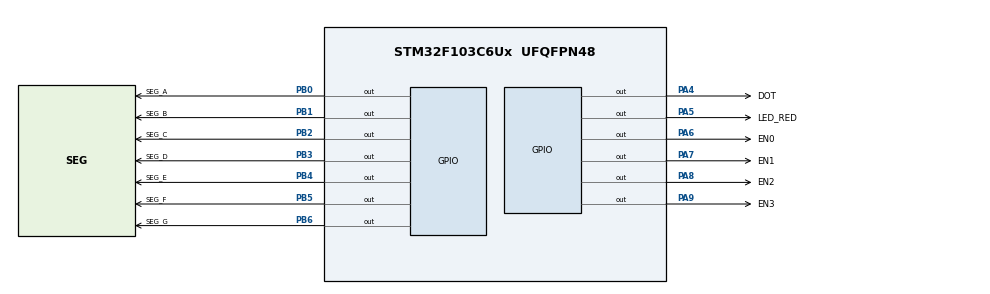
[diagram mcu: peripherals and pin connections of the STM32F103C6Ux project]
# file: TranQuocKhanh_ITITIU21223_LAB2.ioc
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Mcu.Family=STM32F1
Mcu.Name=STM32F103C6Ux
Mcu.Package=UFQFPN48
NVIC.PriorityGroup=NVIC_PRIORITYGROUP_4
NVIC.TIM2_IRQn=true\:0\:0\:false\:false\:true\:true\:true\:true
PA4.GPIO_Label=DOT
PA4.Signal=GPIO_Output
PA5.GPIO_Label=LED_RED
PA5.Signal=GPIO_Output
PA6.GPIO_Label=EN0
PA6.Signal=GPIO_Output
PA7.GPIO_Label=EN1
PA7.Signal=GPIO_Output
PA8.GPIO_Label=EN2
PA8.Signal=GPIO_Output
PA9.GPIO_Label=EN3
PA9.Signal=GPIO_Output
PB0.GPIO_Label=SEG_A
PB0.Signal=GPIO_Output
PB1.GPIO_Label=SEG_B
PB1.Signal=GPIO_Output
PB2.GPIO_Label=SEG_C
PB2.Signal=GPIO_Output
PB3.GPIO_Label=SEG_D
PB3.Signal=GPIO_Output
PB4.GPIO_Label=SEG_E
PB4.Signal=GPIO_Output
PB5.GPIO_Label=SEG_F
PB5.Signal=GPIO_Output
PB6.GPIO_Label=SEG_G
PB6.Signal=GPIO_Output
ProjectManager.HeapSize=0x200
ProjectManager.StackSize=0x400
ProjectManager.TargetToolchain=STM32CubeIDE
RCC.APB1Freq_Value=8000000
RCC.APB2Freq_Value=8000000
TIM2.Period=9
TIM2.Prescaler=7999
VP_SYS_VS_ND.Mode=No_Debug
VP_TIM2_VS_ClockSourceINT.Mode=Internal
board=custom

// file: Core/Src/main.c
/* USER CODE BEGIN Header */
/**
  ******************************************************************************
  * @file           : main.c
  * @brief          : Main program body
  ******************************************************************************
  * @attention
  *
  * Copyright (c) 2024 STMicroelectronics.
  * All rights reserved.
  *
  * This software is licensed under terms that can be found in the LICENSE file
  * in the root directory of this software component.
  * If no LICENSE file comes with this software, it is provided AS-IS.
  *
  ******************************************************************************
  */
/* USER CODE END Header */
#include "main.h"

/* USER CODE BEGIN Includes */
#include "software_timer.h"
/* USER CODE END Includes */

const int MAX_LED = 4;
int index_led = 0;
int led_buffer[4] = {1, 2, 3, 0};
TIM_HandleTypeDef htim2;

void SystemClock_Config(void);
static void MX_GPIO_Init(void);
static void MX_TIM2_Init(void);
/* USER CODE BEGIN PFP */
const int digitConfig[][7] = {
        // A, B, C, D, E, F, G, DP
        {1, 1, 1, 1, 1, 1, 0}, // 0
        {0, 1, 1, 0, 0, 0, 0}, // 1
        {1, 1, 0, 1, 1, 0, 1}, // 2
        {1, 1, 1, 1, 0, 0, 1}, // 3
        {0, 1, 1, 0, 0, 1, 1}, // 4
        {1, 0, 1, 1, 0, 1, 1}, // 5
        {1, 0, 1, 1, 1, 1, 1}, // 6
        {1, 1, 1, 0, 0, 0, 0}, // 7
        {1, 1, 1, 1, 1, 1, 1}, // 8
        {1, 1, 1, 1, 0, 1, 1}  // 9
    };
const int DOT_COUNTER = 100, LED_SWITCH_COUNTER = 25, CLOCK_COUNTER = 100;
int hour = 15 , minute = 12 , second = 37;
/* USER CODE END PFP */

int main(void)
{

  /* MCU Configuration--------------------------------------------------------*/

  /* Reset of all peripherals, Initializes the Flash interface and the Systick. */
  HAL_Init();

  /* Configure the system clock */
  SystemClock_Config();

  /* Initialize all configured peripherals */
  MX_GPIO_Init();
  MX_TIM2_Init();
  /* USER CODE BEGIN 2 */
  HAL_TIM_Base_Start_IT (& htim2 ) ;
  /* USER CODE END 2 */

  /* Infinite loop */
  /* USER CODE BEGIN WHILE */
  HAL_GPIO_WritePin(GPIOA, DOT_Pin, GPIO_PIN_SET);
  setTimer0(DOT_COUNTER);
  setTimer1(LED_SWITCH_COUNTER);
  setTimer2(CLOCK_COUNTER);
  updateClockBuffer();
  while (1)
  {
	  if(timer0_flag == 1) {
		  HAL_GPIO_TogglePin(GPIOA, DOT_Pin);
		  setTimer0(DOT_COUNTER);
	  }
	  if(timer1_flag == 1) {
		  setTimer1(LED_SWITCH_COUNTER);
		  update7SEG(index_led++) ;
		  if(index_led > 3) {
			  index_led = 0;
		  }

	  }
	  if(timer2_flag == 1) {
	      second++;
	      if (second >= 60)
	      {
	        second = 0;
	        minute++;
	      }
	      if (minute >= 60)
	      {
	        minute = 0;
	        hour++;
	      }
	      if (hour >= 24)
	      {
	        hour = 0;
	      }
	      updateClockBuffer();
	      setTimer2(CLOCK_COUNTER);
	  }
  }
}

void SystemClock_Config(void)
{
  RCC_OscInitTypeDef RCC_OscInitStruct = {0};
  RCC_ClkInitTypeDef RCC_ClkInitStruct = {0};

  /** Initializes the RCC Oscillators according to the specified parameters
  * in the RCC_OscInitTypeDef structure.
  */
  RCC_OscInitStruct.OscillatorType = RCC_OSCILLATORTYPE_HSI;
  RCC_OscInitStruct.HSIState = RCC_HSI_ON;
  RCC_OscInitStruct.HSICalibrationValue = RCC_HSICALIBRATION_DEFAULT;
  RCC_OscInitStruct.PLL.PLLState = RCC_PLL_NONE;
  if (HAL_RCC_OscConfig(&RCC_OscInitStruct) != HAL_OK)
  {
    Error_Handler();
  }

  /** Initializes the CPU, AHB and APB buses clocks
  */
  RCC_ClkInitStruct.ClockType = RCC_CLOCKTYPE_HCLK|RCC_CLOCKTYPE_SYSCLK
                              |RCC_CLOCKTYPE_PCLK1|RCC_CLOCKTYPE_PCLK2;
  RCC_ClkInitStruct.SYSCLKSource = RCC_SYSCLKSOURCE_HSI;
  RCC_ClkInitStruct.AHBCLKDivider = RCC_SYSCLK_DIV1;
  RCC_ClkInitStruct.APB1CLKDivider = RCC_HCLK_DIV1;
  RCC_ClkInitStruct.APB2CLKDivider = RCC_HCLK_DIV1;

  if (HAL_RCC_ClockConfig(&RCC_ClkInitStruct, FLASH_LATENCY_0) != HAL_OK)
  {
    Error_Handler();
  }
}

static void MX_TIM2_Init(void)
{

  TIM_ClockConfigTypeDef sClockSourceConfig = {0};
  TIM_MasterConfigTypeDef sMasterConfig = {0};

  htim2.Instance = TIM2;
  htim2.Init.Prescaler = 7999;
  htim2.Init.CounterMode = TIM_COUNTERMODE_UP;
  htim2.Init.Period = 9;
  htim2.Init.ClockDivision = TIM_CLOCKDIVISION_DIV1;
  htim2.Init.AutoReloadPreload = TIM_AUTORELOAD_PRELOAD_DISABLE;
  if (HAL_TIM_Base_Init(&htim2) != HAL_OK)
  {
    Error_Handler();
  }
  sClockSourceConfig.ClockSource = TIM_CLOCKSOURCE_INTERNAL;
  if (HAL_TIM_ConfigClockSource(&htim2, &sClockSourceConfig) != HAL_OK)
  {
    Error_Handler();
  }
  sMasterConfig.MasterOutputTrigger = TIM_TRGO_RESET;
  sMasterConfig.MasterSlaveMode = TIM_MASTERSLAVEMODE_DISABLE;
  if (HAL_TIMEx_MasterConfigSynchronization(&htim2, &sMasterConfig) != HAL_OK)
  {
    Error_Handler();
  }

}

static void MX_GPIO_Init(void)
{
  GPIO_InitTypeDef GPIO_InitStruct = {0};

  /* GPIO Ports Clock Enable */
  __HAL_RCC_GPIOA_CLK_ENABLE();
  __HAL_RCC_GPIOB_CLK_ENABLE();

  /*Configure GPIO pin Output Level */
  HAL_GPIO_WritePin(GPIOA, DOT_Pin|LED_RED_Pin|EN0_Pin|EN1_Pin
                          |EN2_Pin|EN3_Pin, GPIO_PIN_RESET);

  /*Configure GPIO pin Output Level */
  HAL_GPIO_WritePin(GPIOB, SEG_A_Pin|SEG_B_Pin|SEG_C_Pin|SEG_D_Pin
                          |SEG_E_Pin|SEG_F_Pin|SEG_G_Pin, GPIO_PIN_RESET);

  /*Configure GPIO pins : DOT_Pin LED_RED_Pin EN0_Pin EN1_Pin
                           EN2_Pin EN3_Pin */
  GPIO_InitStruct.Pin = DOT_Pin|LED_RED_Pin|EN0_Pin|EN1_Pin
                          |EN2_Pin|EN3_Pin;
  GPIO_InitStruct.Mode = GPIO_MODE_OUTPUT_PP;
  GPIO_InitStruct.Pull = GPIO_NOPULL;
  GPIO_InitStruct.Speed = GPIO_SPEED_FREQ_LOW;
  HAL_GPIO_Init(GPIOA, &GPIO_InitStruct);

  /*Configure GPIO pins : SEG_A_Pin SEG_B_Pin SEG_C_Pin SEG_D_Pin
                           SEG_E_Pin SEG_F_Pin SEG_G_Pin */
  GPIO_InitStruct.Pin = SEG_A_Pin|SEG_B_Pin|SEG_C_Pin|SEG_D_Pin
                          |SEG_E_Pin|SEG_F_Pin|SEG_G_Pin;
  GPIO_InitStruct.Mode = GPIO_MODE_OUTPUT_PP;
  GPIO_InitStruct.Pull = GPIO_NOPULL;
  GPIO_InitStruct.Speed = GPIO_SPEED_FREQ_LOW;
  HAL_GPIO_Init(GPIOB, &GPIO_InitStruct);

}

/* USER CODE BEGIN 4 */
void updateClockBuffer()
{
  led_buffer[0] = hour / 10;
  led_buffer[1] = hour % 10;
  led_buffer[2] = minute / 10;
  led_buffer[3] = minute % 10;
}
void display7SEG(int num) {
	 if (num < 0 || num > 9) {
	        return;
	    }
	 const int *config = digitConfig[num];

	 HAL_GPIO_WritePin(SEG_A_GPIO_Port, SEG_A_Pin, config[0] ? GPIO_PIN_RESET : GPIO_PIN_SET);
	 HAL_GPIO_WritePin(SEG_B_GPIO_Port, SEG_B_Pin, config[1] ? GPIO_PIN_RESET : GPIO_PIN_SET);
	 HAL_GPIO_WritePin(SEG_C_GPIO_Port, SEG_C_Pin, config[2] ? GPIO_PIN_RESET : GPIO_PIN_SET);
	 HAL_GPIO_WritePin(SEG_D_GPIO_Port, SEG_D_Pin, config[3] ? GPIO_PIN_RESET : GPIO_PIN_SET);
	 HAL_GPIO_WritePin(SEG_E_GPIO_Port, SEG_E_Pin, config[4] ? GPIO_PIN_RESET : GPIO_PIN_SET);
	 HAL_GPIO_WritePin(SEG_F_GPIO_Port, SEG_F_Pin, config[5] ? GPIO_PIN_RESET : GPIO_PIN_SET);
	 HAL_GPIO_WritePin(SEG_G_GPIO_Port, SEG_G_Pin, config[6] ? GPIO_PIN_RESET : GPIO_PIN_SET);
}
void update7SEG(int index) {
    switch (index) {
        case 0:
			HAL_GPIO_WritePin(GPIOA, EN0_Pin , GPIO_PIN_RESET) ;
			HAL_GPIO_WritePin(GPIOA, EN1_Pin | EN2_Pin | EN3_Pin, GPIO_PIN_SET) ;
            display7SEG(led_buffer[0]);
            break;
        case 1:
        	HAL_GPIO_WritePin(GPIOA, EN1_Pin, GPIO_PIN_RESET) ;
        	HAL_GPIO_WritePin(GPIOA, EN0_Pin | EN2_Pin | EN3_Pin , GPIO_PIN_SET) ;
            display7SEG(led_buffer[1]);
            break;
        case 2:
         	HAL_GPIO_WritePin(GPIOA, EN2_Pin , GPIO_PIN_RESET) ;
       	    HAL_GPIO_WritePin(GPIOA, EN0_Pin | EN1_Pin | EN3_Pin, GPIO_PIN_SET) ;
            display7SEG(led_buffer[2]);
            break;
        case 3:
        	HAL_GPIO_WritePin(GPIOA, EN3_Pin, GPIO_PIN_RESET) ;
        	HAL_GPIO_WritePin(GPIOA, EN0_Pin | EN1_Pin | EN2_Pin , GPIO_PIN_SET) ;
            display7SEG(led_buffer[3]);
            break;
        default:
            break;
    }
}

void HAL_TIM_PeriodElapsedCallback ( TIM_HandleTypeDef * htim )
{
    timerRun();
}
/* USER CODE END 4 */

void Error_Handler(void)
{
  __disable_irq();
  while (1)
  {
  }
}
